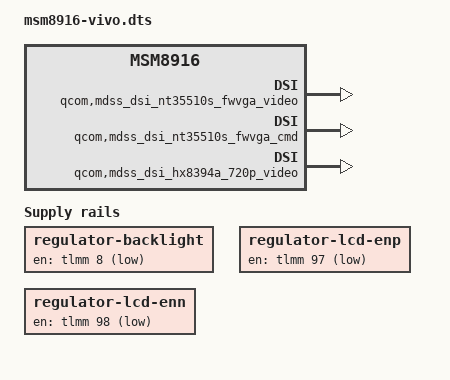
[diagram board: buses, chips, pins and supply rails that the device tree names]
// SPDX-License-Identifier: BSD-3-Clause

#include <skeleton64.dtsi>
#include <lk2nd.dtsi>

/ {
	qcom,msm-id = <QCOM_ID_MSM8916 0>;
	qcom,board-id = <0x01 0x01>;
};

/*
 * Since the stock Android version on these devices reports as 4.4, aboot is
 * only 32-bit, so lk1st is required, along with replacing tz and hyp.
 *
 * Build commands:
 *
 *   Y13L / Y23L / Y613F (PD1304):
 *     make TOOLCHAIN_PREFIX=arm-none-eabi- lk1st-msm8916 \
 *       LK2ND_BUNDLE_DTB=msm8916-vivo.dtb \
 *       LK2ND_COMPATIBLE=vivo,pd1304 \
 *       LK2ND_DISPLAY=nt35510s_fwvga_cmd
 *
 *   Y927 (PD1410V):
 *     make TOOLCHAIN_PREFIX=arm-none-eabi- lk1st-msm8916 \
 *       LK2ND_BUNDLE_DTB=msm8916-vivo.dtb \
 *       LK2ND_COMPATIBLE=vivo,pd1410v \
 *       LK2ND_DISPLAY=hx8394a_720p_video
 *
 * Touch is enabled by default with EDT on PD1304.
 * Some touchscreens require changing the compatible property to Goodix -
 * change the touchscreen-compatible in the PD1304 panel node.
 */

&lk2nd {
	pd1304 {
		model = "Vivo Y13L / Y23L / Y613F";
		compatible = "vivo,pd1304", "vivo,pd1419";

		lk2nd,match-panel;

		lk2nd,dtb-files = "msm8916-vivo-pd1304";

		panel {
			compatible = "vivo,pd1304-panel", "lk2nd,panel";

			qcom,mdss_dsi_nt35510s_fwvga_video{
				compatible = "mdss,nt35510s-video";
				touchscreen-compatible = "edt,edt-ft5306";
			};

			qcom,mdss_dsi_nt35510s_fwvga_cmd {
				compatible = "mdss,nt35510s";
				touchscreen-compatible = "edt,edt-ft5306";
			};
		};

		regulator-backlight {
			compatible = "regulator-fixed";
			gpios = <&tlmm 8 GPIO_ACTIVE_HIGH>;
		};
	};

	pd1410v {
		model = "Vivo Y927 (PD1410V)";
		compatible = "vivo,pd1410v";

		lk2nd,match-panel;

		lk2nd,dtb-files = "msm8916-vivo-pd1410v";

		panel {
			compatible = "vivo,pd1304-panel", "lk2nd,panel";

			qcom,mdss_dsi_hx8394a_720p_video {
				compatible = "vivo,hx8394a-720p";
			};
		};

		regulator-lcd-enp {
			compatible = "regulator-fixed";
			gpios = <&tlmm 97 GPIO_ACTIVE_HIGH>;
		};

		regulator-lcd-enn {
			compatible = "regulator-fixed";
			gpios = <&tlmm 98 GPIO_ACTIVE_HIGH>;
		};

		regulator-backlight {
			compatible = "regulator-fixed";
			gpios = <&tlmm 8 GPIO_ACTIVE_HIGH>;
		};
	};
};
